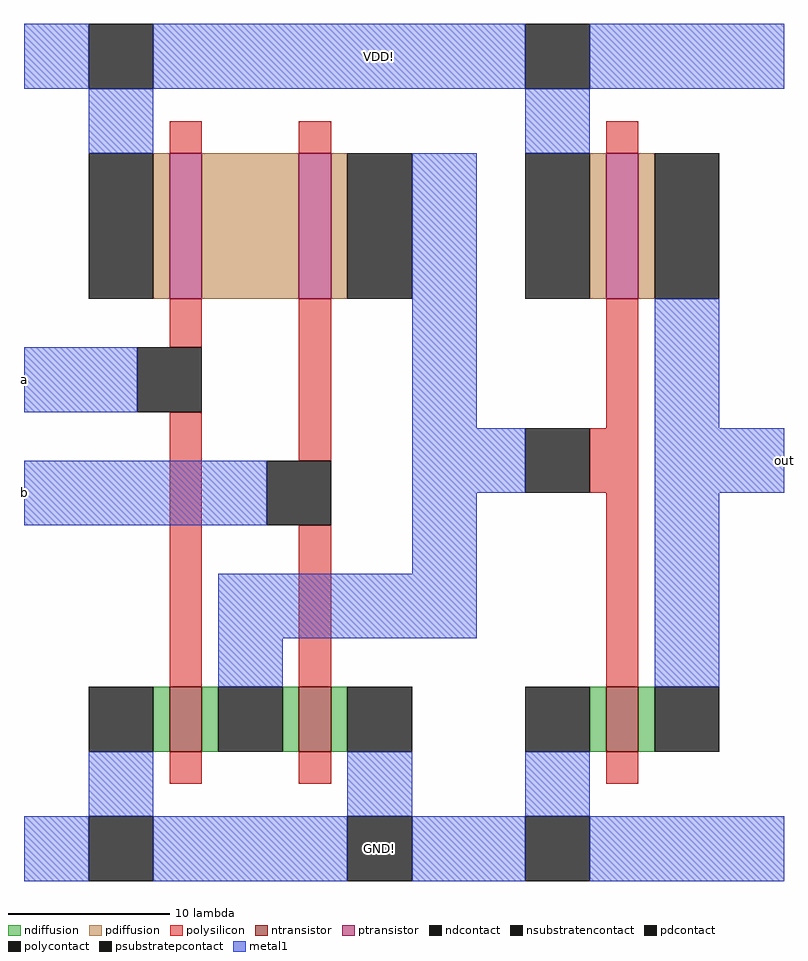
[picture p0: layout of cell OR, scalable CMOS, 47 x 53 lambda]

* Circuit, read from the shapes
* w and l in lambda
.subckt OR GND! VDD! a b out
M1 n1 a GND! GND! nfet w=4 l=2
M2 GND! b n1 GND! nfet w=4 l=2
M3 out n1 GND! GND! nfet w=4 l=2
M4 n2 a VDD! VDD! pfet w=9 l=2
M5 n1 b n2 VDD! pfet w=9 l=2
M6 out n1 VDD! VDD! pfet w=9 l=2
.ends

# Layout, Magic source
magic
tech scmos
<< ntransistor >>
rect -3 -9 -1 -5
rect 5 -9 7 -5
rect 24 -9 26 -5
<< ptransistor >>
rect -3 19 -1 28
rect 5 19 7 28
rect 24 19 26 28
<< ndiffusion >>
rect -4 -9 -3 -5
rect -1 -9 0 -5
rect 4 -9 5 -5
rect 7 -9 8 -5
rect 23 -9 24 -5
rect 26 -9 27 -5
<< pdiffusion >>
rect -4 19 -3 28
rect -1 19 5 28
rect 7 19 8 28
rect 23 19 24 28
rect 26 19 27 28
<< ndcontact >>
rect -8 -9 -4 -5
rect 0 -9 4 -5
rect 8 -9 12 -5
rect 19 -9 23 -5
rect 27 -9 31 -5
<< pdcontact >>
rect -8 19 -4 28
rect 8 19 12 28
rect 19 19 23 28
rect 27 19 31 28
<< psubstratepcontact >>
rect -8 -17 -4 -13
rect 8 -17 12 -13
rect 19 -17 23 -13
<< nsubstratencontact >>
rect -8 32 -4 36
rect 19 32 23 36
<< polysilicon >>
rect -3 28 -1 30
rect 5 28 7 30
rect 24 28 26 30
rect -3 16 -1 19
rect -3 -5 -1 12
rect 5 9 7 19
rect 24 11 26 19
rect 23 7 26 11
rect 5 -5 7 5
rect 24 -5 26 7
rect -3 -11 -1 -9
rect 5 -11 7 -9
rect 24 -11 26 -9
<< polycontact >>
rect -5 12 -1 16
rect 3 5 7 9
rect 19 7 23 11
<< metal1 >>
rect -12 32 -8 36
rect -4 32 19 36
rect 23 32 35 36
rect -8 28 -4 32
rect 19 28 23 32
rect -12 12 -5 16
rect 12 11 16 28
rect 27 11 31 19
rect -12 5 3 9
rect 12 7 19 11
rect 27 7 35 11
rect 12 2 16 7
rect 0 -2 16 2
rect 0 -5 4 -2
rect 27 -5 31 7
rect -8 -13 -4 -9
rect 8 -13 12 -9
rect 19 -13 23 -9
rect -12 -17 -8 -13
rect -4 -17 8 -13
rect 12 -17 19 -13
rect 23 -17 35 -13
<< labels >>
rlabel metal1 35 7 35 11 7 out
rlabel psubstratepcontact 10 -15 10 -15 1 GND!
rlabel metal1 -12 12 -12 16 3 a
rlabel metal1 -12 5 -12 9 3 b
rlabel metal1 10 34 10 34 5 VDD!
<< end >>
